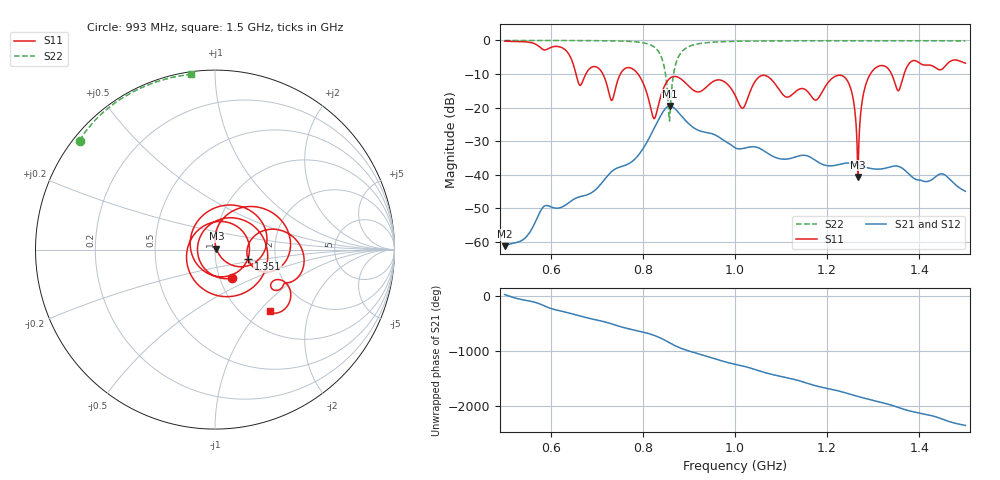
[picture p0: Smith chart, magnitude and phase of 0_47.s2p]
! TOUCHSTONE file generated by CST MICROWAVE STUDIO
! Date and time: Sat Oct 24 10:49:19 2020
! Project name: Scenario_1_Planar_Body_Tissue_Center.cst
! Parameters = {hfat=3; hmuscle=50; hskin=1.5; hgap=25; Wtissue=700; Ltissue=700; L_HA=400; MT=2.54; Rad_Dielectric=30; Rad_Lower=7.3; Rad_Upper=30; a_HA=580; a_WG=246; b_HA=500; b_WG=121; c_HA=0; c_WG=187; d_feed=85; dx1=969.72; h_feed=15; h_lower=18; h_upper=40}
! Header version: 2018
! Port assignment regex: !\s*Touchstone port\s*([0-9]+)\s*=\s*(CST MWS port|CST DS port)\s*([0-9]+|Zmin|Zmax)\s*\(\"(.*)\"\)(\s*mode\s*([0-9]+))?.*
! Touchstone port assignment:
! Touchstone port 1 = CST MWS port 1 ("")
! Touchstone port 2 = CST MWS port 2 ("")
# GHz S DB R 50
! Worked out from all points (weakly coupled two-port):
!   1003 points, 500 MHz to 1.5 GHz, reference 50 ohm
!   highest |S21| = -19.55 dB at 859 MHz (marker M1); lowest = -61.3 dB at 500 MHz (marker M2)
!   lowest |S11| = -40.7 dB at 1.267 GHz (marker M3), VSWR 1.02, Z = 50.8 + j0.548 ohm
!   |S11| at or under -10 dB: 713.3 MHz to 751.2 MHz (37.96 MHz wide, 5.18 % of centre); 789.4 MHz to 1.294 GHz (504.3 MHz wide, 48.4 % of centre); 1.34 GHz to 1.367 GHz (27.18 MHz wide, 2.01 % of centre) (the widest 3 of 4)
!   |S22| runs from -24.0 to 0.0 dB; largest |S21 - S12| = 3.3e-06
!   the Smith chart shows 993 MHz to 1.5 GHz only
!   S11 on the Smith chart (normalised r, x): 993 MHz: 1.14, -0.38; 1.351 GHz: 1.44, -0.16; 1.5 GHz: 1.31, -1.14
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0.5  -0.22 -122.0  -61.30 33.7  -61.30 33.7  -0.01 151.1
0.614  -1.78 177.3  -49.99 107.2  -49.99 107.2  -0.02 143.0
0.641  -4.47 138.0  -48.19 52.7  -48.19 52.7  -0.03 140.7
0.667  -12.95 159.9  -46.43 -8.5  -46.43 -8.5  -0.04 138.3
0.71  -9.24 103.0  -42.61 -90.1  -42.61 -90.1  -0.08 133.6
0.745  -12.11 -126.8  -37.97 -178.6  -37.97 -178.6  -0.15 128.3
0.773  -8.18 137.1  -36.42 119.6  -36.42 119.6  -0.29 122.3
0.804  -13.83 47.8  -31.46 59.1  -31.46 59.1  -0.79 110.6
0.834  -19.07 -153.4  -23.63 -25.9  -23.63 -25.9  -3.31 83.6
0.859  -11.24 100.2  -19.55 -134.2  -19.55 -134.2  -21.95 -90.4
0.887  -11.95 -5.9  -23.01 117.0  -23.01 117.0  -3.02 178.7
0.928  -15.00 177.5  -27.14 12.0  -27.14 12.0  -0.83 154.9
0.993  -14.61 -59.4  -31.28 -150.3  -31.28 -150.3  -0.29 141.2
1  -16.28 -85.6  -31.96 -163.9  -31.96 -163.9  -0.26 140.2
1.036  -14.19 65.4  -31.67 120.9  -31.67 120.9  -0.19 135.8
1.167  -16.93 -99.1  -35.06 -177.8  -35.06 -177.8  -0.09 124.1
1.238  -11.00 1.5  -36.59 38.6  -36.59 38.6  -0.09 118.7
1.267  -40.66 35.6  -37.08 -32.6  -37.08 -32.6  -0.08 116.5
1.289  -11.25 58.3  -37.99 -82.0  -37.99 -82.0  -0.08 114.9
1.334  -8.67 -16.6  -37.80 -178.0  -37.80 -178.0  -0.09 111.5
1.351  -14.36 -16.1  -37.42 136.9  -37.42 136.9  -0.09 110.2
1.5  -6.77 -48.4  -44.96 157.0  -44.96 157.0  -0.13 97.9
